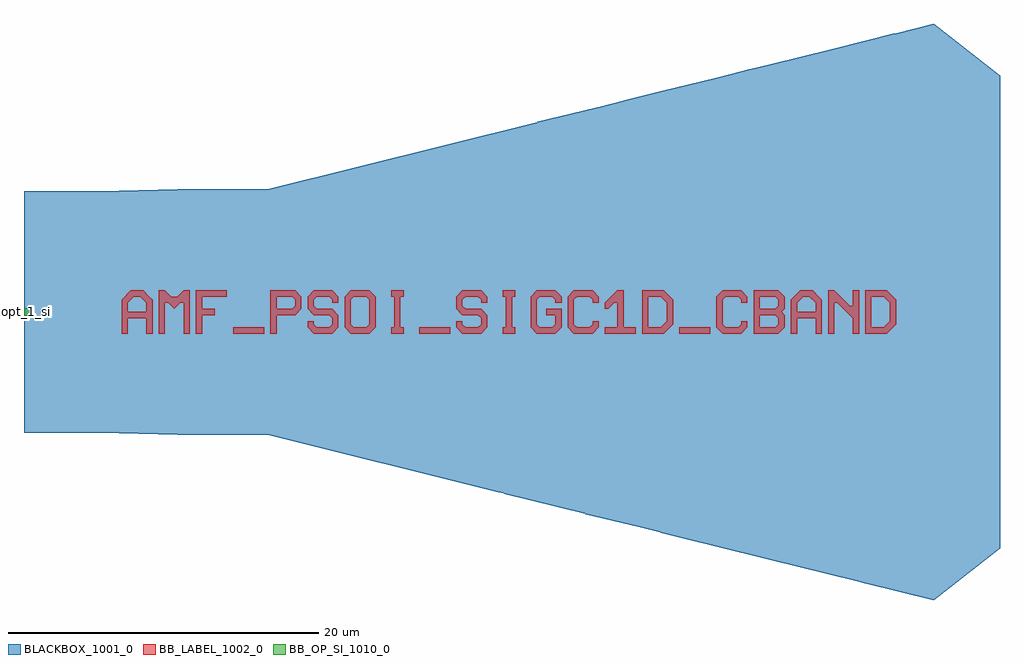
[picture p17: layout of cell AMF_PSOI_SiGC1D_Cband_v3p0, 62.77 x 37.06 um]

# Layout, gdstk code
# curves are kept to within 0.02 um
import gdstk
lib = gdstk.Library(unit=1e-6, precision=1e-09)
def R(c, l, rs):  # rectangles x0, y0, x1, y1
    for r in rs: c.add(gdstk.rectangle(r[:2], r[2:], *l))
def P(c, l, *ps):  # polygons
    for p in ps: c.add(gdstk.Polygon(p, *l))
BLACKBOX_1001_0 = (1001, 0)
BB_LABEL_1002_0 = (1002, 0)
BB_OP_SI_1010_0 = (1010, 0)

amf_psoi_sigc1d_cband_v3 = lib.new_cell('AMF_PSOI_SiGC1D_Cband_v3p0')
P(amf_psoi_sigc1d_cband_v3, BLACKBOX_1001_0, [(58.498,-18.531),(40.941,-14.203),(39.622,-13.85),(36.099,-12.995),(36.082,-12.967),(30.837,-11.694),(30.837,-11.672),(30.493,-11.576),(15.688,-7.9),(9.888,-7.9),(4.886,-7.75),(0,-7.75),(0,7.75),(4.886,7.75),(9.888,7.9),(15.688,7.9),(32.994,12.198),(33.012,12.229),(58.498,18.531),(62.766,15.193),(62.766,-15.193)])
R(amf_psoi_sigc1d_cband_v3, BB_LABEL_1002_0, [(13.45,-1.395,15.443,-0.996), (25.405,-1.395,27.398,-0.996), (42.142,-1.395,44.135,-0.996)])
P(amf_psoi_sigc1d_cband_v3, BB_LABEL_1002_0, [(6.277,-1.395),(6.277,0.797),(6.875,1.395),(7.672,1.395),(8.07,0.996),(7.074,0.996),(6.676,0.598),(6.676,0),(7.871,0),(7.871,0.598),(7.473,0.996),(8.07,0.996),(8.27,0.797),(8.27,-1.395),(7.871,-1.395),(7.871,-0.399),(6.676,-0.399),(6.676,-1.395)],
  [(8.668,-1.395),(8.668,1.395),(9.067,1.395),(9.465,0.996),(9.864,0.996),(10.262,1.395),(10.661,1.395),(10.661,-1.395),(10.262,-1.395),(10.262,0.598),(10.063,0.598),(9.664,0.199),(9.266,0.598),(9.067,0.598),(9.067,-1.395)],
  [(11.059,-1.395),(11.059,1.395),(13.052,1.395),(13.052,0.996),(11.458,0.996),(11.458,0.199),(12.255,0.199),(12.255,-0.199),(11.458,-0.199),(11.458,-1.395)],
  [(15.841,-1.395),(15.841,1.395),(17.435,1.395),(17.834,0.996),(17.834,0.199),(17.435,-0.199),(16.24,-0.199),(16.24,0.199),(17.236,0.199),(17.435,0.398),(17.435,0.797),(17.236,0.996),(16.24,0.996),(16.24,-1.395)],
  [(18.631,-1.395),(18.232,-0.996),(18.232,-0.598),(18.631,-0.598),(18.631,-0.797),(18.83,-0.996),(19.627,-0.996),(19.826,-0.797),(19.826,-0.399),(19.627,-0.199),(18.631,-0.199),(18.232,0.199),(18.232,0.996),(18.631,1.395),(19.826,1.395),(20.225,0.996),(20.225,0.598),(19.826,0.598),(19.826,0.797),(19.627,0.996),(18.83,0.996),(18.631,0.797),(18.631,0.398),(18.83,0.199),(19.826,0.199),(20.225,-0.199),(20.225,-0.996),(19.826,-1.395)],
  [(21.022,-1.395),(20.623,-0.996),(20.623,0.996),(21.022,1.395),(22.217,1.395),(22.616,0.996),(22.616,0),(22.217,0),(22.217,0.797),(22.018,0.996),(21.221,0.996),(21.022,0.797),(21.022,-0.797),(21.221,-0.996),(22.018,-0.996),(22.217,-0.797),(22.217,0),(22.616,0),(22.616,-0.996),(22.217,-1.395)],
  [(23.612,-1.395),(23.612,-0.996),(23.811,-0.996),(23.811,0.996),(23.612,0.996),(23.612,1.395),(24.409,1.395),(24.409,0.996),(24.21,0.996),(24.21,-0.996),(24.409,-0.996),(24.409,-1.395)],
  [(28.195,-1.395),(27.796,-0.996),(27.796,-0.598),(28.195,-0.598),(28.195,-0.797),(28.394,-0.996),(29.191,-0.996),(29.39,-0.797),(29.39,-0.399),(29.191,-0.199),(28.195,-0.199),(27.796,0.199),(27.796,0.996),(28.195,1.395),(29.39,1.395),(29.789,0.996),(29.789,0.598),(29.39,0.598),(29.39,0.797),(29.191,0.996),(28.394,0.996),(28.195,0.797),(28.195,0.398),(28.394,0.199),(29.39,0.199),(29.789,-0.199),(29.789,-0.996),(29.39,-1.395)],
  [(30.785,-1.395),(30.785,-0.996),(30.984,-0.996),(30.984,0.996),(30.785,0.996),(30.785,1.395),(31.582,1.395),(31.582,0.996),(31.383,0.996),(31.383,-0.996),(31.582,-0.996),(31.582,-1.395)],
  [(32.977,-1.395),(32.578,-0.996),(32.578,0.996),(32.977,1.395),(34.172,1.395),(34.571,0.996),(34.571,0.598),(34.172,0.598),(34.172,0.797),(33.973,0.996),(33.176,0.996),(32.977,0.797),(32.977,-0.797),(33.176,-0.996),(33.973,-0.996),(34.172,-0.797),(34.172,-0.199),(33.574,-0.199),(33.574,0.199),(34.571,0.199),(34.571,-0.996),(34.172,-1.395)],
  [(35.368,-1.395),(34.969,-0.996),(34.969,0.996),(35.368,1.395),(36.563,1.395),(36.962,0.996),(36.962,0.598),(36.563,0.598),(36.563,0.797),(36.364,0.996),(35.567,0.996),(35.368,0.797),(35.368,-0.797),(35.567,-0.996),(36.364,-0.996),(36.563,-0.797),(36.563,-0.598),(36.962,-0.598),(36.962,-0.996),(36.563,-1.395)],
  [(37.36,-1.395),(37.36,-0.996),(38.157,-0.996),(38.157,0.598),(37.958,0.598),(37.559,0.199),(37.36,0.199),(37.36,0.598),(38.157,1.395),(38.556,1.395),(38.556,-0.996),(39.353,-0.996),(39.353,-1.395)],
  [(39.751,-1.395),(39.751,1.395),(41.146,1.395),(41.544,0.996),(40.15,0.996),(40.15,-0.996),(40.947,-0.996),(41.345,-0.598),(41.345,0.598),(40.947,0.996),(41.544,0.996),(41.744,0.797),(41.744,-0.797),(41.146,-1.395)],
  [(44.932,-1.395),(44.533,-0.996),(44.533,0.996),(44.932,1.395),(46.127,1.395),(46.526,0.996),(46.526,0.598),(46.127,0.598),(46.127,0.797),(45.928,0.996),(45.131,0.996),(44.932,0.797),(44.932,-0.797),(45.131,-0.996),(45.928,-0.996),(46.127,-0.797),(46.127,-0.598),(46.526,-0.598),(46.526,-0.996),(46.127,-1.395)],
  [(46.924,-1.395),(46.924,1.395),(48.518,1.395),(48.917,0.996),(47.323,0.996),(47.323,0.199),(48.319,0.199),(48.518,0.398),(48.518,0.797),(48.319,0.996),(48.917,0.996),(48.917,0.199),(48.717,0),(48.917,-0.199),(47.323,-0.199),(47.323,-0.996),(48.319,-0.996),(48.518,-0.797),(48.518,-0.399),(48.319,-0.199),(48.917,-0.199),(48.917,-0.996),(48.518,-1.395)],
  [(49.315,-1.395),(49.315,0.797),(49.913,1.395),(50.71,1.395),(51.108,0.996),(50.112,0.996),(49.714,0.598),(49.714,0),(50.909,0),(50.909,0.598),(50.511,0.996),(51.108,0.996),(51.308,0.797),(51.308,-1.395),(50.909,-1.395),(50.909,-0.399),(49.714,-0.399),(49.714,-1.395)],
  [(51.706,-1.395),(51.706,1.395),(52.105,1.395),(53.101,0.398),(53.3,0.398),(53.3,1.395),(53.699,1.395),(53.699,-1.395),(53.3,-1.395),(53.3,-0.399),(52.304,0.598),(52.105,0.598),(52.105,-1.395)],
  [(54.097,-1.395),(54.097,1.395),(55.492,1.395),(55.89,0.996),(54.496,0.996),(54.496,-0.996),(55.293,-0.996),(55.691,-0.598),(55.691,0.598),(55.293,0.996),(55.89,0.996),(56.09,0.797),(56.09,-0.797),(55.492,-1.395)])
R(amf_psoi_sigc1d_cband_v3, BB_OP_SI_1010_0, [(0,-0.25,0.5,0.25)])
amf_psoi_sigc1d_cband_v3.add(gdstk.Label('opt_1_si', (0,0), layer=1010, texttype=0))

lib.write_gds('AMF_PSOI_SiGC1D_Cband_v3p0.gds')
